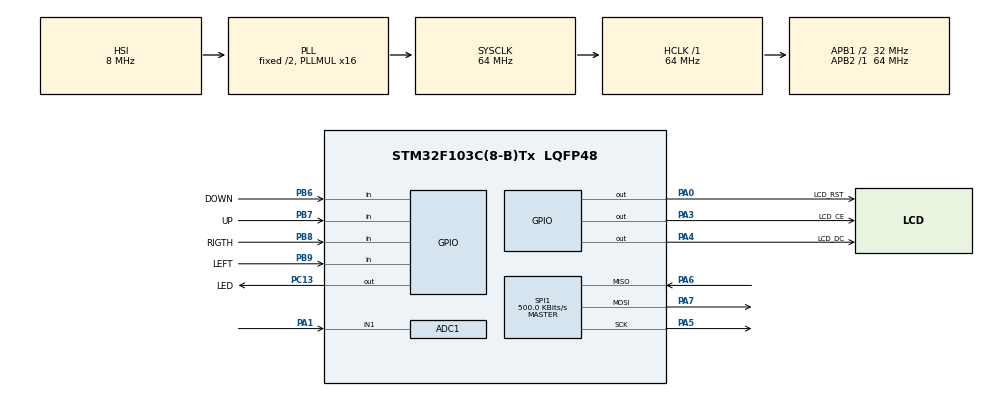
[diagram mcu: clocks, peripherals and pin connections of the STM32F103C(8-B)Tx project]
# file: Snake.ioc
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ADC1.Channel-0\#ChannelRegularConversion=ADC_CHANNEL_1
ADC1.NbrOfConversionFlag=1
ADC1.Rank-0\#ChannelRegularConversion=1
ADC1.SamplingTime-0\#ChannelRegularConversion=ADC_SAMPLETIME_1CYCLE_5
ADC1.master=1
FREERTOS.Mutexes01=mController,Dynamic,NULL;mSnake,Dynamic,NULL;mFood,Dynamic,NULL
FREERTOS.Tasks01=renderTask,0,128,render,Default,NULL,Dynamic,NULL,NULL;tickTask,0,128,tick,Default,NULL,Dynamic,NULL,NULL;ControllerTask,-3,128,controller,Default,NULL,Dynamic,NULL,NULL
Mcu.Family=STM32F1
Mcu.Name=STM32F103C(8-B)Tx
Mcu.Package=LQFP48
NVIC.PriorityGroup=NVIC_PRIORITYGROUP_4
NVIC.TIM1_UP_IRQn=true\:0\:0\:false\:false\:true\:false\:false\:true
NVIC.TimeBase=TIM1_UP_IRQn
NVIC.TimeBaseIP=TIM1
PA0-WKUP.GPIO_Label=LCD_RST
PA0-WKUP.Signal=GPIO_Output
PA1.Signal=ADCx_IN1
PA13.Mode=Serial_Wire
PA13.Signal=SYS_JTMS-SWDIO
PA14.Mode=Serial_Wire
PA14.Signal=SYS_JTCK-SWCLK
PA3.GPIO_Label=LCD_CE
PA3.Signal=GPIO_Output
PA4.GPIO_Label=LCD_DC
PA4.Signal=GPIO_Output
PA5.Mode=Full_Duplex_Master
PA5.Signal=SPI1_SCK
PA6.Mode=Full_Duplex_Master
PA6.Signal=SPI1_MISO
PA7.Mode=Full_Duplex_Master
PA7.Signal=SPI1_MOSI
PB6.GPIO_Label=DOWN
PB6.GPIO_PuPd=GPIO_PULLUP
PB6.Signal=GPIO_Input
PB7.GPIO_Label=UP
PB7.GPIO_PuPd=GPIO_PULLUP
PB7.Signal=GPIO_Input
PB8.GPIO_Label=RIGTH
PB8.GPIO_PuPd=GPIO_PULLUP
PB8.Signal=GPIO_Input
PB9.GPIO_Label=LEFT
PB9.GPIO_PuPd=GPIO_PULLUP
PB9.Signal=GPIO_Input
PC13-TAMPER-RTC.GPIO_Label=LED
PC13-TAMPER-RTC.Signal=GPIO_Output
ProjectManager.HeapSize=0x200
ProjectManager.StackSize=0x400
ProjectManager.TargetToolchain=STM32CubeIDE
RCC.ADCPresc=RCC_ADCPCLK2_DIV6
RCC.AHBFreq_Value=64000000
RCC.APB1CLKDivider=RCC_HCLK_DIV2
RCC.APB1Freq_Value=32000000
RCC.APB1TimFreq_Value=64000000
RCC.APB2Freq_Value=64000000
RCC.APB2TimFreq_Value=64000000
RCC.HCLKFreq_Value=64000000
RCC.PLLMUL=RCC_PLL_MUL16
RCC.SYSCLKFreq_VALUE=64000000
RCC.SYSCLKSource=RCC_SYSCLKSOURCE_PLLCLK
RCC.USBFreq_Value=64000000
SH.ADCx_IN1.0=ADC1_IN1,IN1
SPI1.BaudRatePrescaler=SPI_BAUDRATEPRESCALER_16
SPI1.CalculateBaudRate=500.0 KBits/s
SPI1.Direction=SPI_DIRECTION_2LINES
SPI1.Mode=SPI_MODE_MASTER
SPI1.VirtualType=VM_MASTER
VP_FREERTOS_VS_CMSIS_V1.Mode=CMSIS_V1
VP_SYS_VS_tim1.Mode=TIM1
board=custom

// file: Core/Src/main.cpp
/* USER CODE BEGIN Header */
/**
  ******************************************************************************
  * @file           : main.c
  * @brief          : Main program body
  ******************************************************************************
  * @attention
  *
  * <h2><center>&copy; Copyright (c) 2020 STMicroelectronics.
  * All rights reserved.</center></h2>
  *
  * This software component is licensed by ST under BSD 3-Clause license,
  * the "License"; You may not use this file except in compliance with the
  * License. You may obtain a copy of the License at:
  *                        opensource.org/licenses/BSD-3-Clause
  *
  ******************************************************************************
  */
/* USER CODE END Header */
#include "main.h"
#include "cmsis_os.h"

/* USER CODE BEGIN Includes */
#include "Display.h"
#include "Controller.h"
#include "Snake.h"
#include "Game.h"
#include "Food.h"
#include "Controller.h";
#include <string>
#include <time.h>
/* USER CODE END Includes */

ADC_HandleTypeDef hadc1;

SPI_HandleTypeDef hspi1;

osThreadId renderTaskHandle;
osThreadId tickTaskHandle;
osThreadId ControllerTaskHandle;
osMutexId mControllerHandle;
osMutexId mSnakeHandle;
osMutexId mFoodHandle;
/* USER CODE BEGIN PV */
Food food(&mFoodHandle);
Snake snk(&food,&mSnakeHandle);
/* USER CODE END PV */

void SystemClock_Config(void);
static void MX_GPIO_Init(void);
static void MX_SPI1_Init(void);
static void MX_ADC1_Init(void);
void render(void const * argument);
void tick(void const * argument);
void controller(void const * argument);

/* USER CODE BEGIN PFP */
static int32_t adRead(ADC_HandleTypeDef* hadc);
static void clk(void (*f)());
static void rend();
static void tic();
static void cont();
/* USER CODE END PFP */

int main(void)
{
  /* USER CODE BEGIN 1 */
	Controller::setMux(&mControllerHandle);
  /* USER CODE END 1 */

  /* MCU Configuration--------------------------------------------------------*/

  /* Reset of all peripherals, Initializes the Flash interface and the Systick. */
  HAL_Init();

  /* Configure the system clock */
  SystemClock_Config();

  /* Initialize all configured peripherals */
  MX_GPIO_Init();
  MX_SPI1_Init();
  MX_ADC1_Init();
  /* USER CODE BEGIN 2 */

//  int cont = 0;
  /* USER CODE END 2 */

  /* Create the mutex(es) */
  /* definition and creation of mController */
  osMutexDef(mController);
  mControllerHandle = osMutexCreate(osMutex(mController));

  /* definition and creation of mSnake */
  osMutexDef(mSnake);
  mSnakeHandle = osMutexCreate(osMutex(mSnake));

  /* definition and creation of mFood */
  osMutexDef(mFood);
  mFoodHandle = osMutexCreate(osMutex(mFood));

  /* Create the thread(s) */
  /* definition and creation of renderTask */
  osThreadDef(renderTask, render, osPriorityNormal, 0, 128);
  renderTaskHandle = osThreadCreate(osThread(renderTask), NULL);

  /* definition and creation of tickTask */
  osThreadDef(tickTask, tick, osPriorityNormal, 0, 128);
  tickTaskHandle = osThreadCreate(osThread(tickTask), NULL);

  /* definition and creation of ControllerTask */
  osThreadDef(ControllerTask, controller, osPriorityIdle, 0, 128);
  ControllerTaskHandle = osThreadCreate(osThread(ControllerTask), NULL);

  /* Start scheduler */
  osKernelStart();

  /* We should never get here as control is now taken by the scheduler */
  /* Infinite loop */
  /* USER CODE BEGIN WHILE */
  while (1)
  {
	  //Display::LCD_Clear();
	  //Controller::atlVal();
	  //Controller::Display();
	  //snk.tick();
	  //food.tick();
	  //snk.render();
	  //food.render();
	  //HAL_Delay(1000/Game::fps());
    /* USER CODE END WHILE */

  }
}

void SystemClock_Config(void)
{
  RCC_OscInitTypeDef RCC_OscInitStruct = {0};
  RCC_ClkInitTypeDef RCC_ClkInitStruct = {0};
  RCC_PeriphCLKInitTypeDef PeriphClkInit = {0};

  /** Initializes the RCC Oscillators according to the specified parameters
  * in the RCC_OscInitTypeDef structure.
  */
  RCC_OscInitStruct.OscillatorType = RCC_OSCILLATORTYPE_HSI;
  RCC_OscInitStruct.HSIState = RCC_HSI_ON;
  RCC_OscInitStruct.HSICalibrationValue = RCC_HSICALIBRATION_DEFAULT;
  RCC_OscInitStruct.PLL.PLLState = RCC_PLL_ON;
  RCC_OscInitStruct.PLL.PLLSource = RCC_PLLSOURCE_HSI_DIV2;
  RCC_OscInitStruct.PLL.PLLMUL = RCC_PLL_MUL16;
  if (HAL_RCC_OscConfig(&RCC_OscInitStruct) != HAL_OK)
  {
    Error_Handler();
  }
  /** Initializes the CPU, AHB and APB buses clocks
  */
  RCC_ClkInitStruct.ClockType = RCC_CLOCKTYPE_HCLK|RCC_CLOCKTYPE_SYSCLK
                              |RCC_CLOCKTYPE_PCLK1|RCC_CLOCKTYPE_PCLK2;
  RCC_ClkInitStruct.SYSCLKSource = RCC_SYSCLKSOURCE_PLLCLK;
  RCC_ClkInitStruct.AHBCLKDivider = RCC_SYSCLK_DIV1;
  RCC_ClkInitStruct.APB1CLKDivider = RCC_HCLK_DIV2;
  RCC_ClkInitStruct.APB2CLKDivider = RCC_HCLK_DIV1;

  if (HAL_RCC_ClockConfig(&RCC_ClkInitStruct, FLASH_LATENCY_2) != HAL_OK)
  {
    Error_Handler();
  }
  PeriphClkInit.PeriphClockSelection = RCC_PERIPHCLK_ADC;
  PeriphClkInit.AdcClockSelection = RCC_ADCPCLK2_DIV6;
  if (HAL_RCCEx_PeriphCLKConfig(&PeriphClkInit) != HAL_OK)
  {
    Error_Handler();
  }
}

static void MX_ADC1_Init(void)
{

  ADC_ChannelConfTypeDef sConfig = {0};

  /** Common config
  */
  hadc1.Instance = ADC1;
  hadc1.Init.ScanConvMode = ADC_SCAN_DISABLE;
  hadc1.Init.ContinuousConvMode = DISABLE;
  hadc1.Init.DiscontinuousConvMode = DISABLE;
  hadc1.Init.ExternalTrigConv = ADC_SOFTWARE_START;
  hadc1.Init.DataAlign = ADC_DATAALIGN_RIGHT;
  hadc1.Init.NbrOfConversion = 1;
  if (HAL_ADC_Init(&hadc1) != HAL_OK)
  {
    Error_Handler();
  }
  /** Configure Regular Channel
  */
  sConfig.Channel = ADC_CHANNEL_1;
  sConfig.Rank = ADC_REGULAR_RANK_1;
  sConfig.SamplingTime = ADC_SAMPLETIME_1CYCLE_5;
  if (HAL_ADC_ConfigChannel(&hadc1, &sConfig) != HAL_OK)
  {
    Error_Handler();
  }

}

static void MX_SPI1_Init(void)
{

  /* SPI1 parameter configuration*/
  hspi1.Instance = SPI1;
  hspi1.Init.Mode = SPI_MODE_MASTER;
  hspi1.Init.Direction = SPI_DIRECTION_2LINES;
  hspi1.Init.DataSize = SPI_DATASIZE_8BIT;
  hspi1.Init.CLKPolarity = SPI_POLARITY_LOW;
  hspi1.Init.CLKPhase = SPI_PHASE_1EDGE;
  hspi1.Init.NSS = SPI_NSS_SOFT;
  hspi1.Init.BaudRatePrescaler = SPI_BAUDRATEPRESCALER_16;
  hspi1.Init.FirstBit = SPI_FIRSTBIT_MSB;
  hspi1.Init.TIMode = SPI_TIMODE_DISABLE;
  hspi1.Init.CRCCalculation = SPI_CRCCALCULATION_DISABLE;
  hspi1.Init.CRCPolynomial = 10;
  if (HAL_SPI_Init(&hspi1) != HAL_OK)
  {
    Error_Handler();
  }

}

static void MX_GPIO_Init(void)
{
  GPIO_InitTypeDef GPIO_InitStruct = {0};

  /* GPIO Ports Clock Enable */
  __HAL_RCC_GPIOC_CLK_ENABLE();
  __HAL_RCC_GPIOA_CLK_ENABLE();
  __HAL_RCC_GPIOB_CLK_ENABLE();

  /*Configure GPIO pin Output Level */
  HAL_GPIO_WritePin(LED_GPIO_Port, LED_Pin, GPIO_PIN_RESET);

  /*Configure GPIO pin Output Level */
  HAL_GPIO_WritePin(GPIOA, LCD_RST_Pin|LCD_CE_Pin|LCD_DC_Pin, GPIO_PIN_RESET);

  /*Configure GPIO pin : LED_Pin */
  GPIO_InitStruct.Pin = LED_Pin;
  GPIO_InitStruct.Mode = GPIO_MODE_OUTPUT_PP;
  GPIO_InitStruct.Pull = GPIO_NOPULL;
  GPIO_InitStruct.Speed = GPIO_SPEED_FREQ_LOW;
  HAL_GPIO_Init(LED_GPIO_Port, &GPIO_InitStruct);

  /*Configure GPIO pins : LCD_RST_Pin LCD_CE_Pin LCD_DC_Pin */
  GPIO_InitStruct.Pin = LCD_RST_Pin|LCD_CE_Pin|LCD_DC_Pin;
  GPIO_InitStruct.Mode = GPIO_MODE_OUTPUT_PP;
  GPIO_InitStruct.Pull = GPIO_NOPULL;
  GPIO_InitStruct.Speed = GPIO_SPEED_FREQ_LOW;
  HAL_GPIO_Init(GPIOA, &GPIO_InitStruct);

  /*Configure GPIO pins : DOWN_Pin UP_Pin RIGTH_Pin LEFT_Pin */
  GPIO_InitStruct.Pin = DOWN_Pin|UP_Pin|RIGTH_Pin|LEFT_Pin;
  GPIO_InitStruct.Mode = GPIO_MODE_INPUT;
  GPIO_InitStruct.Pull = GPIO_PULLUP;
  HAL_GPIO_Init(GPIOB, &GPIO_InitStruct);

}

/* USER CODE BEGIN 4 */
static int32_t adRead(ADC_HandleTypeDef* hadc){
	HAL_ADC_Start(hadc);
	while(HAL_ADC_PollForConversion(hadc, 5)!= HAL_OK){}
	return HAL_ADC_GetValue(hadc);
}
static void clk(void (*f)()){
	auto t1 = clock();
	f();
	t1 = clock() -t1;
	osDelay(1000/Game::fps()-(int)(t1/(CLOCKS_PER_SEC/1000)));
}
static void rend(){
	Display::LCD_Clear();
	Controller::atlVal();
	snk.render();
	food.render();
}
static void tic(){
	snk.tick();
	food.tick();
}
static void cont(){
	Controller::atlVal();
}
/* USER CODE END 4 */

void render(void const * argument)
{
  /* USER CODE BEGIN 5 */
	Display::LCD_Init();
  /* Infinite loop */
  for(;;)
  {
	  clk(rend);
  }
  /* USER CODE END 5 */
}

void tick(void const * argument)
{
  /* USER CODE BEGIN tick */
  /* Infinite loop */
  for(;;)
  {
	  clk(tic);
  }
  /* USER CODE END tick */
}

void controller(void const * argument)
{
  /* USER CODE BEGIN controller */
  /* Infinite loop */
	//Controller::setMux(&mControllerHandle);
  for(;;)
  {
	  clk(cont);
  }
  /* USER CODE END controller */
}

void HAL_TIM_PeriodElapsedCallback(TIM_HandleTypeDef *htim)
{
  if (htim->Instance == TIM1) {
    HAL_IncTick();
  }
}

void Error_Handler(void)
{
}

/************************ (C) COPYRIGHT STMicroelectronics *****END OF FILE****/
